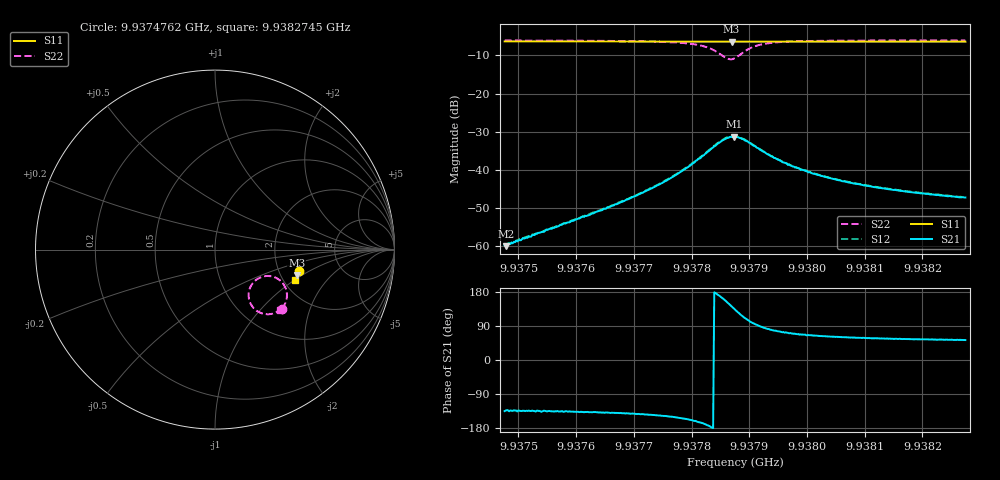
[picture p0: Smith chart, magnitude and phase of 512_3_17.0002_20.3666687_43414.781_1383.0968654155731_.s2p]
#  HZ  S  RI  R  50.00
! Rohde & Schwarz Vector Network Analyzer
! Rohde-Schwarz,ZNB20-2Port,1311601062101988,3.16
! Created: UTC 3/20/2024, 11:15:03 PM
! freq[Hz]  re:S11  im:S11  re:S21  im:S21  re:S12  im:S12  re:S22  im:S22
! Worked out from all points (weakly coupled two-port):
!   401 points, 9.9374762 GHz to 9.9382745 GHz, reference 50 ohm
!   highest |S21| = -31.29 dB at 9.9378734 GHz (marker M1); lowest = -60.0 dB at 9.9374782 GHz (marker M2)
!   lowest |S11| = -6.4 dB at 9.9378694 GHz (marker M3), VSWR 2.83, Z = 122 - j45.4 ohm
!   |S11| at or under -10 dB: nowhere
!   |S22| runs from -11.0 to -6.1 dB; largest |S21 - S12| = 0.0011
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9.93747619e9  0.4677 -0.1201  -0.000725 -0.000727  -0.000717 -0.000741  0.3724 -0.3286
9.93747818e9  0.4677 -0.1202  -0.000684 -0.000723  -0.000721 -0.00073  0.372 -0.3287
9.93760991e9  0.4649 -0.1292  -0.00176 -0.00165  -0.0018 -0.00162  0.3564 -0.3409
9.93769373e9  0.4624 -0.1347  -0.00332 -0.00262  -0.00341 -0.00261  0.3387 -0.3506
9.93774363e9  0.4611 -0.1379  -0.00533 -0.00351  -0.00549 -0.00352  0.3186 -0.3576
9.93778155e9  0.4599 -0.1407  -0.00838 -0.00422  -0.00864 -0.00416  0.2917 -0.3602
9.93782346e9  0.4581 -0.1433  -0.0159 -0.00302  -0.0162 -0.0026  0.2323 -0.3408
9.93783743e9  0.4571 -0.1442  -0.0197 -6.27e-05  -0.02 0.000233  0.2054 -0.3132
9.9378514e9  0.4563 -0.1443  -0.0229 0.00584  -0.0232 0.00639  0.1876 -0.2623
9.93786138e9  0.4559 -0.1442  -0.0232 0.0118  -0.0234 0.0127  0.1946 -0.214
9.93786937e9  0.4556 -0.144  -0.0212 0.0167  -0.021 0.0178  0.2184 -0.1782
9.93787336e9  0.4558 -0.1442  -0.0196 0.0189  -0.0192 0.0199  0.2355 -0.1644
9.93787535e9  0.4559 -0.1442  -0.0184 0.0199  -0.0181 0.0207  0.2449 -0.1588
9.93788533e9  0.4564 -0.1442  -0.0127 0.0227  -0.0121 0.0233  0.2941 -0.1469
9.9378993e9  0.4568 -0.1451  -0.00555 0.0221  -0.00475 0.0226  0.3496 -0.1626
9.93792126e9  0.457 -0.1468  0.000786 0.018  0.00121 0.018  0.3898 -0.2067
9.93793922e9  0.4569 -0.1481  0.00283 0.0147  0.00312 0.0147  0.3992 -0.2354
9.93796517e9  0.4565 -0.1504  0.00377 0.0116  0.00404 0.0113  0.4004 -0.2636
9.93800907e9  0.4554 -0.1535  0.00382 0.00812  0.00405 0.00819  0.3946 -0.2907
9.93808092e9  0.4536 -0.1584  0.00338 0.00569  0.00356 0.00567  0.384 -0.3125
9.93814279e9  0.4519 -0.1625  0.00307 0.00463  0.00321 0.00463  0.3767 -0.3234
9.93827452e9  0.4482 -0.171  0.00263 0.00344  0.00272 0.00341  0.3647 -0.3381
